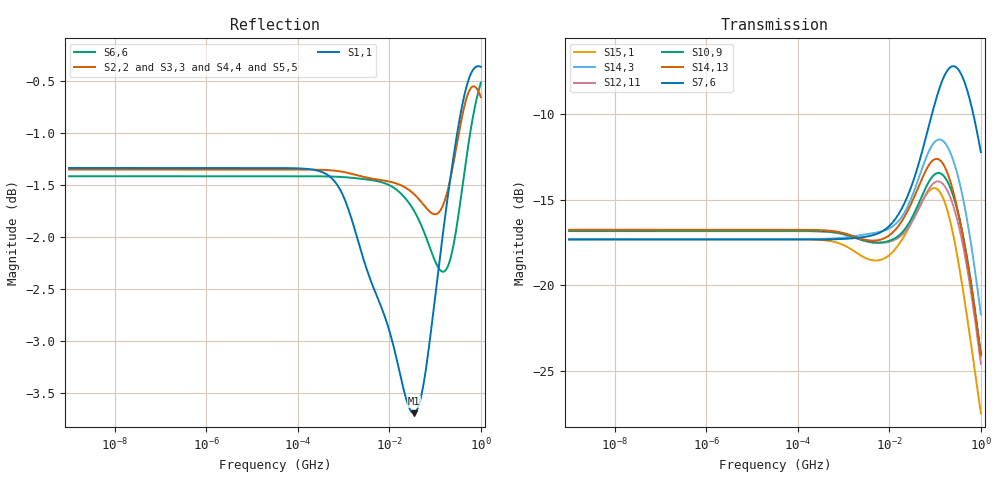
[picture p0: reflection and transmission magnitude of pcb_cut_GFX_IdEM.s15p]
! Touchstone data
! Created: 22-Apr-2025 by IdEM 2023 (2023.0.0)
! COMMENTS
!  Touchstone file exported from Ansys Full-Wave Spice
!  Project: 0000_PSI_S-parameter_Sweep
!  Design: unknown
!  Creation time: Tue Apr 22 09:41:47 2025
!  Notes: ! Touchstone(R) file created by SIwave 2025 R1
!  : ! Touchstone(R) file created on Tue Apr 22 09:41:47 2025
!  Modal data exported
!  Port[1] = PORT_3_L27_SOC_VGPU_Group_U41_GND_Group
!  Port[2] = PORT_4_U1_SOC_VGPU_Group_U1_GRP_1_0_GND
!  Port[3] = SOC_VGPU_C458_1
!  Port[4] = SOC_VGPU_C459_1
!  Port[5] = SOC_VGPU_C460_1
!  Port[6] = SOC_VGPU_C461_1
!  Port[7] = SOC_VGPU_C462_1
!  Port[8] = SOC_VGPU_C463_1
!  Port[9] = SOC_VGPU_C551_1
!  Port[10] = SOC_VGPU_C551_3
!  Port[11] = SOC_VGPU_C552_1
!  Port[12] = SOC_VGPU_C552_3
!  Port[13] = SOC_VGPU_C553_1
!  Port[14] = SOC_VGPU_C553_3
!  Port[15] = SOC_VGPU_C645_1
! Options Used in IdEM Flow
! Fitting Options !
! Bandwidth: 1.0000e+09 Hz
! Order: [2 2 6]
! SplitType: none
! tol: 1.0000e-03
! DC Point: enforced
! Passivity Options !
! Alg: SOC+HAM
!  Max SOC it: 200
!  Max HAM it: 50
! Freq sampling: adaptive
! DC Point: enforced
! Optimization method: Model based
# Hz S MA R 0.1
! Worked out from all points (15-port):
!   420 points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, 1 Hz to 1 GHz, reference 0.1 ohm
!   strongest paths, dB at 1 Hz, 3.687 kHz, 11.66 MHz, 482.9 MHz, 1 GHz:
!     S7,6: -17.3, -17.3, -16.3, -8.5, -12.2
!     S14,13: -16.8, -16.8, -16.9, -18.3, -24.1
!     S10,9: -16.8, -16.8, -17.3, -18.2, -24.1
!     S12,11: -16.8, -16.8, -17.4, -18.8, -24.6
!     S14,3: -17.3, -17.3, -16.6, -16.0, -21.7
!     S15,1: -17.3, -17.3, -18.1, -21.6, -27.5
!   lowest |S11| = -3.7 dB at 34.15 MHz (marker M1), VSWR 4.77, Z = 0.0279 + j0.0558 ohm
!   |S11| at or under -10 dB: nowhere
